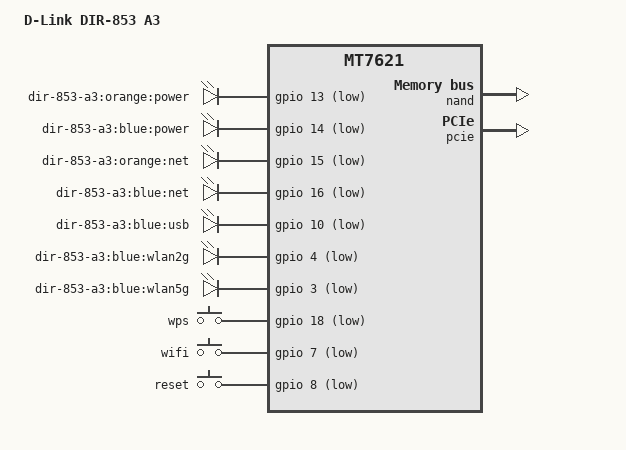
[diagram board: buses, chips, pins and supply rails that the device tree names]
// SPDX-License-Identifier: GPL-2.0-or-later OR MIT
/dts-v1/;

#include "mt7621.dtsi"

#include <dt-bindings/gpio/gpio.h>
#include <dt-bindings/input/input.h>

/ {
	compatible = "dlink,dir-853-a3", "mediatek,mt7621-soc";
	model = "D-Link DIR-853 A3";

	aliases {
		led-boot = &led_power_orange;
		led-failsafe = &led_power_blue;
		led-running = &led_power_blue;
		led-upgrade = &led_power_orange;
		label-mac-device = &ethernet;
	};

	chosen {
		bootargs = "console=ttyS0,57600";
	};

	leds {
		compatible = "gpio-leds";

		led_power_orange: power {
			label = "dir-853-a3:orange:power";
			gpios = <&gpio 13 GPIO_ACTIVE_LOW>;
		};

		led_power_blue: power2 {
			label = "dir-853-a3:blue:power";
			gpios = <&gpio 14 GPIO_ACTIVE_LOW>;
		};

		internet-orange {
			label = "dir-853-a3:orange:net";
			gpios = <&gpio 15 GPIO_ACTIVE_LOW>;
		};

		internet-blue {
			label = "dir-853-a3:blue:net";
			gpios = <&gpio 16 GPIO_ACTIVE_LOW>;
		};

		usb {
			label = "dir-853-a3:blue:usb";
			gpios = <&gpio 10 GPIO_ACTIVE_LOW>;
			trigger-sources = <&xhci_ehci_port1>;
			linux,default-trigger = "usbport";
		};

		wlan1 {
			label = "dir-853-a3:blue:wlan2g";
			gpios = <&gpio 4 GPIO_ACTIVE_LOW>;
		};

		wlan0 {
			label = "dir-853-a3:blue:wlan5g";
			gpios = <&gpio 3 GPIO_ACTIVE_LOW>;
		};
	};

	keys {
		compatible = "gpio-keys";

		wps {
			label = "wps";
			gpios = <&gpio 18 GPIO_ACTIVE_LOW>;
			linux,code = <KEY_WPS_BUTTON>;
		};

		wifi {
			label = "wifi";
			gpios = <&gpio 7 GPIO_ACTIVE_LOW>;
			linux,code = <KEY_RFKILL>;
		};

		reset {
			label = "reset";
			gpios = <&gpio 8 GPIO_ACTIVE_LOW>;
			linux,code = <KEY_RESTART>;
		};
	};
};

&nand {
	status = "okay";

	partitions {
		compatible = "fixed-partitions";
		#address-cells = <1>;
		#size-cells = <1>;

		partition@0 {
			label = "bootloader";
			reg = <0x0 0x80000>;
			read-only;
		};

		partition@80000 {
			label = "config";
			reg = <0x80000 0x80000>;
		};

		factory: partition@100000 {
			label = "factory";
			reg = <0x100000 0x40000>;
			read-only;
		};

		partition@140000 {
			label = "config2";
			reg = <0x140000 0x40000>;
			read-only;
		};

		partition@180000 {
			compatible = "sge,uimage";
			label = "firmware";
			reg = <0x180000 0x2800000>;
		};

		partition@2980000 {
			label = "private";
			reg = <0x2980000 0x2000000>;
		};

		partition@4980000 {
			label = "kernel2";
			reg = <0x4980000 0x2800000>;
		};

		partition@7180000 {
			label = "mydlink";
			reg = <0x7180000 0x600000>;
		};

		partition@7780000 {
			label = "reserved";
			reg = <0x7780000  0x800000>;
		};
	};
};

&pcie {
	status = "okay";
};

&pcie0 {
	mt76@0,0 {
		reg = <0x0000 0 0 0 0>;
		mediatek,mtd-eeprom = <&factory 0x0>;
	};
};

&ethernet {
	compatible = "mediatek,ralink-mt7621-eth";
	mediatek,switch = <&gsw>;
	mtd-mac-address = <&factory 0xe000>;
};

&switch0 {
	/delete-property/ compatible;
	phy-mode = "rgmii";
};

&gsw {
	compatible = "mediatek,ralink-mt7621-gsw";
};

&state_default {
	gpio {
		groups = "i2c", "uart3", "jtag", "wdt";
		function = "gpio";
	};
};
